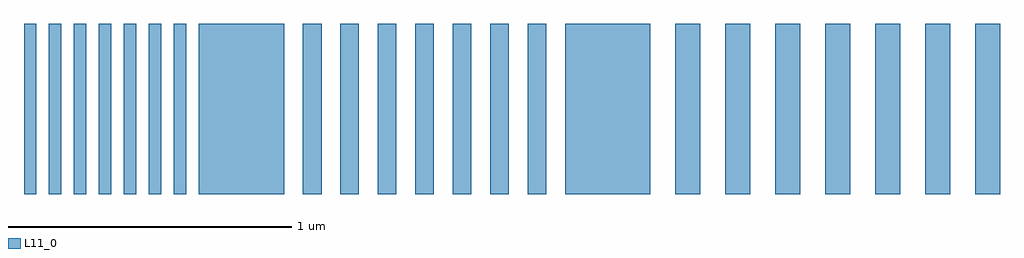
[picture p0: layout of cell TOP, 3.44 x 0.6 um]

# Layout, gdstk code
import gdstk
lib = gdstk.Library(unit=1e-6, precision=1e-09)
def R(c, l, rs):  # rectangles x0, y0, x1, y1
    for r in rs: c.add(gdstk.rectangle(r[:2], r[2:], *l))
def A(c, l, x, y, w, h, nx, ny, dx, dy):  # array of equal rectangles
    R(c, l, [(x+i*dx, y+j*dy, x+i*dx+w, y+j*dy+h) for i in range(nx) for j in range(ny)])
L11_0 = (11, 0)

top = lib.new_cell('TOP')
A(top, L11_0, 0.144, 0.1, 0.044, 0.6, 7, 1, 0.088, 0)
A(top, L11_0, 1.126, 0.1, 0.066, 0.6, 7, 1, 0.132, 0)
A(top, L11_0, 2.438, 0.1, 0.088, 0.6, 7, 1, 0.176, 0)
R(top, L11_0, [(0.76,0.1,1.06,0.7), (2.05,0.1,2.35,0.7)])

lib.write_gds('TOP.gds')
